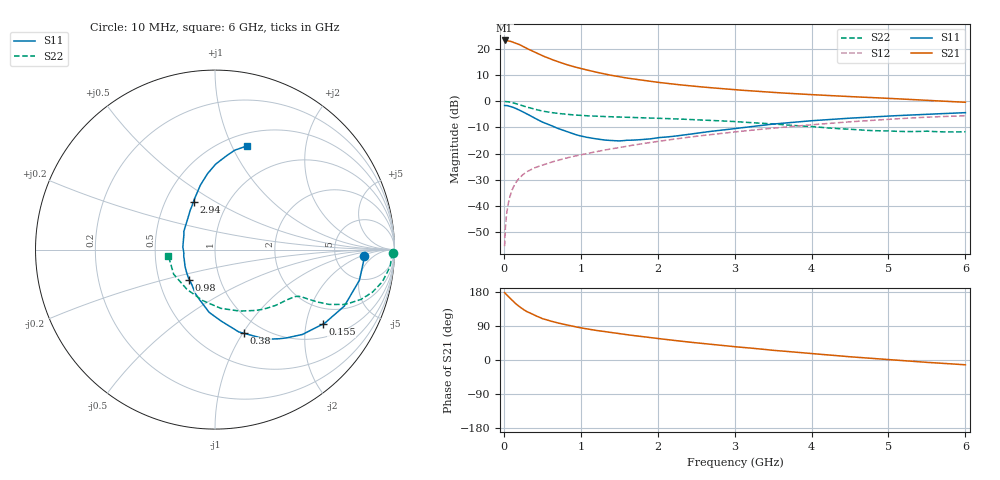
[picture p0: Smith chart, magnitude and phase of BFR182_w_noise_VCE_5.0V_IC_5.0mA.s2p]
! Infineon Technologies  Discrete & RF Semiconductors
! BFR182
! VCE =  5.0 V,  IC =  5.0 mA
! Common Emitter S-Parameters:  Nov 2015
# GHz  S  MA  R  50
!  f  S11  S21  S12  S22
! GHz  MAG  ANG  MAG  ANG  MAG  ANG  MAG  ANG
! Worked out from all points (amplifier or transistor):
!   210 points, 10 MHz to 6 GHz, reference 50 ohm
!   highest |S21| = 23.2 dB at 10 MHz (marker M1)
!   |S21| within 3 dB of that: start of sweep to 295.2 MHz
!   unconditionally stable (mu >= 1): 1.099 GHz to 2.89 GHz
!   at 185 MHz: K = 0.33, MSG = 25.9 dB, |S12| = -29.9 dB
!   at 1.52 GHz: K = 1.06, MAG = 12.0 dB, |S12| = -17.6 dB
!   at 6 GHz: K = 0.88, MSG = 2.6 dB, |S12| = -5.5 dB
!   lowest NFmin = 1.20 dB at 450 MHz
!   S11 on the Smith chart (normalised r, x): 10 MHz: 10, -2; 155 MHz: 1.40, -2.49; 380 MHz: 0.82, -1.02; 980 MHz: 0.71, -0.25; 2.94 GHz: 0.69, +0.40; 6 GHz: 0.63, +1.15
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0.01  0.8319 -2.5  14.52 177.7  0.0017 89.2  0.9902 -1.1
0.02  0.83 -4.6  14.19 175.4  0.0038 85.1  0.9849 -2.3
0.04  0.8238 -9.5  14.27 171.3  0.0077 82.3  0.9814 -4.5
0.05  0.8229 -11.9  14.33 169.2  0.0096 81.8  0.9802 -5.6
0.1  0.7863 -23.6  13.85 159.2  0.019 77.7  0.9495 -10.9
0.155  0.7295 -34.8  12.82 148.4  0.0278 72.2  0.903 -15.5
0.2  0.6791 -44.1  12.15 141.0  0.034 69.0  0.8601 -18.8
0.24  0.6337 -50.9  11.34 135.3  0.0386 66.4  0.8224 -20.9
0.3  0.5743 -60.4  10.19 127.7  0.0451 64.3  0.7742 -23.3
0.38  0.4943 -70.8  8.984 120.0  0.0517 61.8  0.7176 -25.2
0.5  0.4005 -84.9  7.421 109.3  0.0602 60.3  0.6498 -26.9
0.6  0.3513 -95.3  6.465 103.2  0.0675 59.9  0.6131 -27.5
0.8  0.2706 -113.4  5.095 93.0  0.0813 60.2  0.5664 -28.3
0.98  0.2204 -130.5  4.298 85.6  0.0931 61.3  0.5388 -29.0
1.02  0.2135 -134.7  4.156 84.2  0.0958 61.4  0.5341 -29.2
1.4  0.178 -167.9  3.122 72.4  0.1229 62.2  0.5049 -32.2
2.02  0.2021 148.6  2.284 56.3  0.1724 61.1  0.472 -39.2
2.94  0.2931 114.1  1.69 36.4  0.2535 55.7  0.4133 -54.7
3.1  0.3129 110.5  1.621 33.4  0.2682 54.2  0.3999 -58.1
4.1  0.434 94.4  1.314 15.3  0.3649 44.7  0.3189 -87.8
5.1  0.5299 82.6  1.117 -0.3  0.4607 32.6  0.2667 -130.1
6  0.6055 72.8  0.957 -12.7  0.5301 19.8  0.2617 -172.4
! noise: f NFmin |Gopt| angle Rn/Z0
0.45  1.2  0.27  37  0.3
0.9  1.3  0.25  75  0.23
1.8  1.9  0.21  145  0.2
